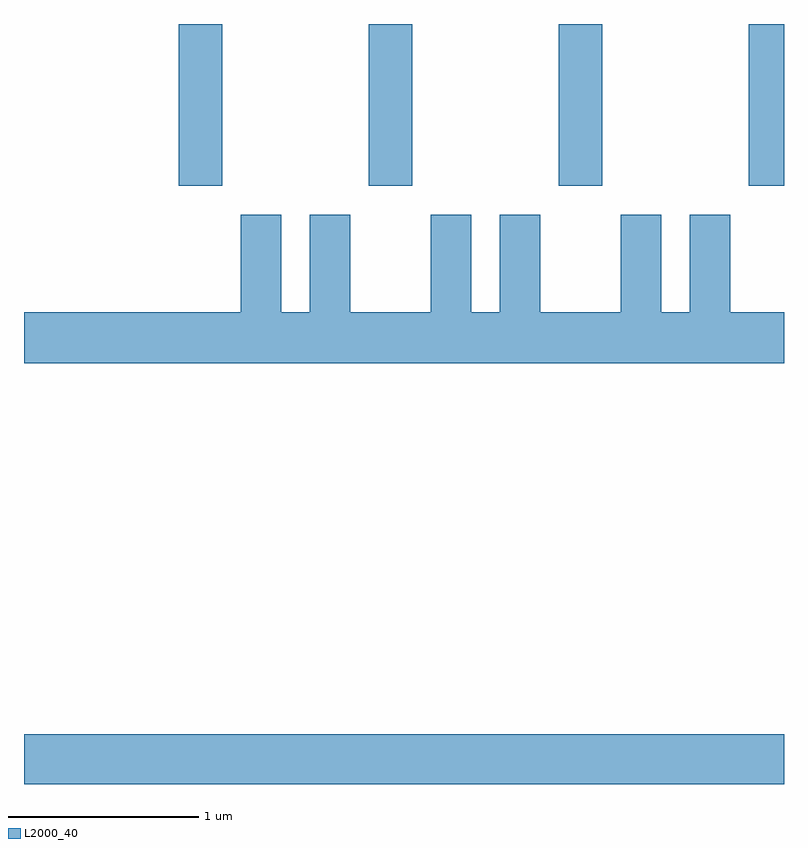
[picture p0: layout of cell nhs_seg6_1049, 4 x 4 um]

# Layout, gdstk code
import gdstk
lib = gdstk.Library(unit=1e-6, precision=1e-09)
def R(c, l, rs):  # rectangles x0, y0, x1, y1
    for r in rs: c.add(gdstk.rectangle(r[:2], r[2:], *l))
def A(c, l, x, y, w, h, nx, ny, dx, dy):  # array of equal rectangles
    R(c, l, [(x+i*dx, y+j*dy, x+i*dx+w, y+j*dy+h) for i in range(nx) for j in range(ny)])
def P(c, l, *ps):  # polygons
    for p in ps: c.add(gdstk.Polygon(p, *l))
L2000_40 = (2000, 40)

nhs_seg6_1049 = lib.new_cell('nhs_seg6_1049')
A(nhs_seg6_1049, L2000_40, 216.426, 1655.311, 0.228, 0.851, 3, 1, 1, 0)
R(nhs_seg6_1049, L2000_40, [(215.611,1652.162,219.611,1652.424), (219.426,1655.311,219.611,1656.162)])
P(nhs_seg6_1049, L2000_40, [(219.611,1654.644),(219.329,1654.644),(219.329,1655.159),(219.116,1655.159),(219.116,1654.644),(218.964,1654.644),(218.964,1655.159),(218.751,1655.159),(218.751,1654.644),(218.329,1654.644),(218.329,1655.159),(218.116,1655.159),(218.116,1654.644),(217.964,1654.644),(217.964,1655.159),(217.751,1655.159),(217.751,1654.644),(217.329,1654.644),(217.329,1655.159),(217.116,1655.159),(217.116,1654.644),(216.964,1654.644),(216.964,1655.159),(216.751,1655.159),(216.751,1654.644),(215.611,1654.644),(215.611,1654.376),(219.611,1654.376)])

lib.write_gds('nhs_seg6_1049.gds')
